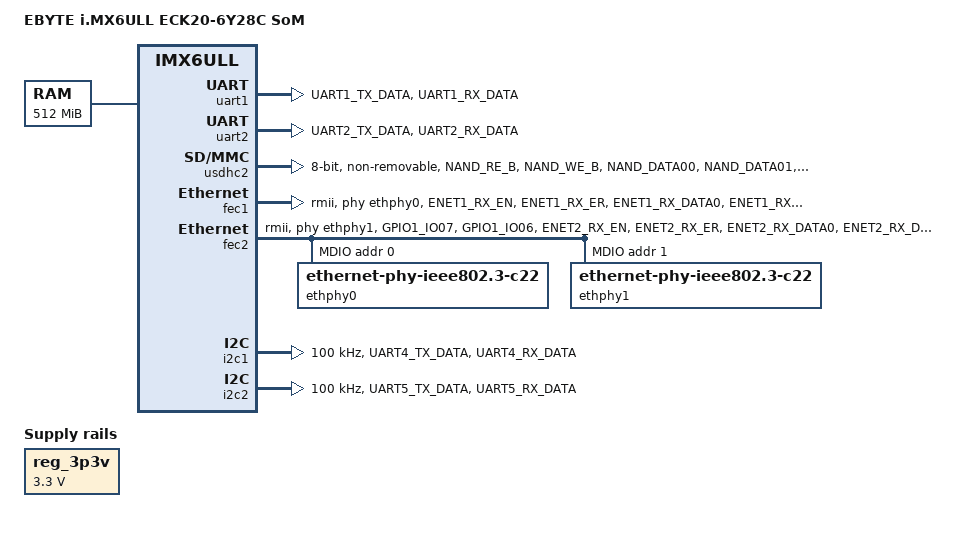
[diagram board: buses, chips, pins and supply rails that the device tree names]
/*
 * Device Tree for EBYTE i.MX6ULL SoM (ECK20-6Y28C) with eMMC
 * Based on imx6ull-14x14-evk.dts
 * 
 * Key modifications:
 * - UART2 enabled for STM32F411 communication
 * - UART1 configured as console
 * - eMMC support
 */

/dts-v1/;

#include "imx6ull.dtsi"

/ {
    model = "EBYTE i.MX6ULL ECK20-6Y28C SoM";
    compatible = "ebyte,imx6ull-eck20", "fsl,imx6ull";

    chosen {
        stdout-path = &uart1;
    };

    memory@80000000 {
        device_type = "memory";
        reg = <0x80000000 0x20000000>; /* 512MB DDR3 */
    };

    regulators {
        compatible = "simple-bus";
        #address-cells = <1>;
        #size-cells = <0>;

        reg_3p3v: regulator@0 {
            compatible = "regulator-fixed";
            reg = <0>;
            regulator-name = "3P3V";
            regulator-min-microvolt = <3300000>;
            regulator-max-microvolt = <3300000>;
            regulator-always-on;
        };
    };
};

/* UART1 - Linux Console */
&uart1 {
    pinctrl-names = "default";
    pinctrl-0 = <&pinctrl_uart1>;
    status = "okay";
};

/* UART2 - STM32F411 Communication */
&uart2 {
    pinctrl-names = "default";
    pinctrl-0 = <&pinctrl_uart2>;
    status = "okay";
};

/* eMMC */
&usdhc2 {
    pinctrl-names = "default", "state_100mhz", "state_200mhz";
    pinctrl-0 = <&pinctrl_usdhc2>;
    pinctrl-1 = <&pinctrl_usdhc2_100mhz>;
    pinctrl-2 = <&pinctrl_usdhc2_200mhz>;
    non-removable;
    bus-width = <8>;
    status = "okay";
};

/* Ethernet */
&fec1 {
    pinctrl-names = "default";
    pinctrl-0 = <&pinctrl_enet1>;
    phy-mode = "rmii";
    phy-handle = <&ethphy0>;
    status = "okay";
};

&fec2 {
    pinctrl-names = "default";
    pinctrl-0 = <&pinctrl_enet2>;
    phy-mode = "rmii";
    phy-handle = <&ethphy1>;
    status = "okay";

    mdio {
        #address-cells = <1>;
        #size-cells = <0>;

        ethphy0: ethernet-phy@0 {
            compatible = "ethernet-phy-ieee802.3-c22";
            reg = <0>;
        };

        ethphy1: ethernet-phy@1 {
            compatible = "ethernet-phy-ieee802.3-c22";
            reg = <1>;
        };
    };
};

/* I2C1 */
&i2c1 {
    clock-frequency = <100000>;
    pinctrl-names = "default";
    pinctrl-0 = <&pinctrl_i2c1>;
    status = "okay";
};

/* I2C2 */
&i2c2 {
    clock-frequency = <100000>;
    pinctrl-names = "default";
    pinctrl-0 = <&pinctrl_i2c2>;
    status = "okay";
};

/* Pin multiplexing */
&iomuxc {
    pinctrl-names = "default";
    pinctrl-0 = <&pinctrl_hog_1>;

    pinctrl_hog_1: hoggrp-1 {
        fsl,pins = <
            /* Add any GPIO pins here */
        >;
    };

    pinctrl_uart1: uart1grp {
        fsl,pins = <
            MX6UL_PAD_UART1_TX_DATA__UART1_DCE_TX   0x1b0b1
            MX6UL_PAD_UART1_RX_DATA__UART1_DCE_RX   0x1b0b1
        >;
    };

    pinctrl_uart2: uart2grp {
        fsl,pins = <
            MX6UL_PAD_UART2_TX_DATA__UART2_DCE_TX   0x1b0b1
            MX6UL_PAD_UART2_RX_DATA__UART2_DCE_RX   0x1b0b1
        >;
    };

    pinctrl_usdhc2: usdhc2grp {
        fsl,pins = <
            MX6UL_PAD_NAND_RE_B__USDHC2_CLK         0x10069
            MX6UL_PAD_NAND_WE_B__USDHC2_CMD         0x17059
            MX6UL_PAD_NAND_DATA00__USDHC2_DATA0     0x17059
            MX6UL_PAD_NAND_DATA01__USDHC2_DATA1     0x17059
            MX6UL_PAD_NAND_DATA02__USDHC2_DATA2     0x17059
            MX6UL_PAD_NAND_DATA03__USDHC2_DATA3     0x17059
            MX6UL_PAD_NAND_DATA04__USDHC2_DATA4     0x17059
            MX6UL_PAD_NAND_DATA05__USDHC2_DATA5     0x17059
            MX6UL_PAD_NAND_DATA06__USDHC2_DATA6     0x17059
            MX6UL_PAD_NAND_DATA07__USDHC2_DATA7     0x17059
        >;
    };

    pinctrl_usdhc2_100mhz: usdhc2grp100mhz {
        fsl,pins = <
            MX6UL_PAD_NAND_RE_B__USDHC2_CLK         0x100b9
            MX6UL_PAD_NAND_WE_B__USDHC2_CMD         0x170b9
            MX6UL_PAD_NAND_DATA00__USDHC2_DATA0     0x170b9
            MX6UL_PAD_NAND_DATA01__USDHC2_DATA1     0x170b9
            MX6UL_PAD_NAND_DATA02__USDHC2_DATA2     0x170b9
            MX6UL_PAD_NAND_DATA03__USDHC2_DATA3     0x170b9
            MX6UL_PAD_NAND_DATA04__USDHC2_DATA4     0x170b9
            MX6UL_PAD_NAND_DATA05__USDHC2_DATA5     0x170b9
            MX6UL_PAD_NAND_DATA06__USDHC2_DATA6     0x170b9
            MX6UL_PAD_NAND_DATA07__USDHC2_DATA7     0x170b9
        >;
    };

    pinctrl_usdhc2_200mhz: usdhc2grp200mhz {
        fsl,pins = <
            MX6UL_PAD_NAND_RE_B__USDHC2_CLK         0x100f9
            MX6UL_PAD_NAND_WE_B__USDHC2_CMD         0x170f9
            MX6UL_PAD_NAND_DATA00__USDHC2_DATA0     0x170f9
            MX6UL_PAD_NAND_DATA01__USDHC2_DATA1     0x170f9
            MX6UL_PAD_NAND_DATA02__USDHC2_DATA2     0x170f9
            MX6UL_PAD_NAND_DATA03__USDHC2_DATA3     0x170f9
            MX6UL_PAD_NAND_DATA04__USDHC2_DATA4     0x170f9
            MX6UL_PAD_NAND_DATA05__USDHC2_DATA5     0x170f9
            MX6UL_PAD_NAND_DATA06__USDHC2_DATA6     0x170f9
            MX6UL_PAD_NAND_DATA07__USDHC2_DATA7     0x170f9
        >;
    };

    pinctrl_enet1: enet1grp {
        fsl,pins = <
            MX6UL_PAD_ENET1_RX_EN__ENET1_RX_EN      0x1b0b0
            MX6UL_PAD_ENET1_RX_ER__ENET1_RX_ER      0x1b0b0
            MX6UL_PAD_ENET1_RX_DATA0__ENET1_RDATA00 0x1b0b0
            MX6UL_PAD_ENET1_RX_DATA1__ENET1_RDATA01 0x1b0b0
            MX6UL_PAD_ENET1_TX_EN__ENET1_TX_EN      0x1b0b0
            MX6UL_PAD_ENET1_TX_DATA0__ENET1_TDATA00 0x1b0b0
            MX6UL_PAD_ENET1_TX_DATA1__ENET1_TDATA01 0x1b0b0
            MX6UL_PAD_ENET1_TX_CLK__ENET1_REF_CLK1  0x4001b031
        >;
    };

    pinctrl_enet2: enet2grp {
        fsl,pins = <
            MX6UL_PAD_GPIO1_IO07__ENET2_MDC         0x1b0b0
            MX6UL_PAD_GPIO1_IO06__ENET2_MDIO        0x1b0b0
            MX6UL_PAD_ENET2_RX_EN__ENET2_RX_EN      0x1b0b0
            MX6UL_PAD_ENET2_RX_ER__ENET2_RX_ER      0x1b0b0
            MX6UL_PAD_ENET2_RX_DATA0__ENET2_RDATA00 0x1b0b0
            MX6UL_PAD_ENET2_RX_DATA1__ENET2_RDATA01 0x1b0b0
            MX6UL_PAD_ENET2_TX_EN__ENET2_TX_EN      0x1b0b0
            MX6UL_PAD_ENET2_TX_DATA0__ENET2_TDATA00 0x1b0b0
            MX6UL_PAD_ENET2_TX_DATA1__ENET2_TDATA01 0x1b0b0
            MX6UL_PAD_ENET2_TX_CLK__ENET2_REF_CLK2  0x4001b031
        >;
    };

    pinctrl_i2c1: i2c1grp {
        fsl,pins = <
            MX6UL_PAD_UART4_TX_DATA__I2C1_SCL       0x4001b8b0
            MX6UL_PAD_UART4_RX_DATA__I2C1_SDA       0x4001b8b0
        >;
    };

    pinctrl_i2c2: i2c2grp {
        fsl,pins = <
            MX6UL_PAD_UART5_TX_DATA__I2C2_SCL       0x4001b8b0
            MX6UL_PAD_UART5_RX_DATA__I2C2_SDA       0x4001b8b0
        >;
    };
};
